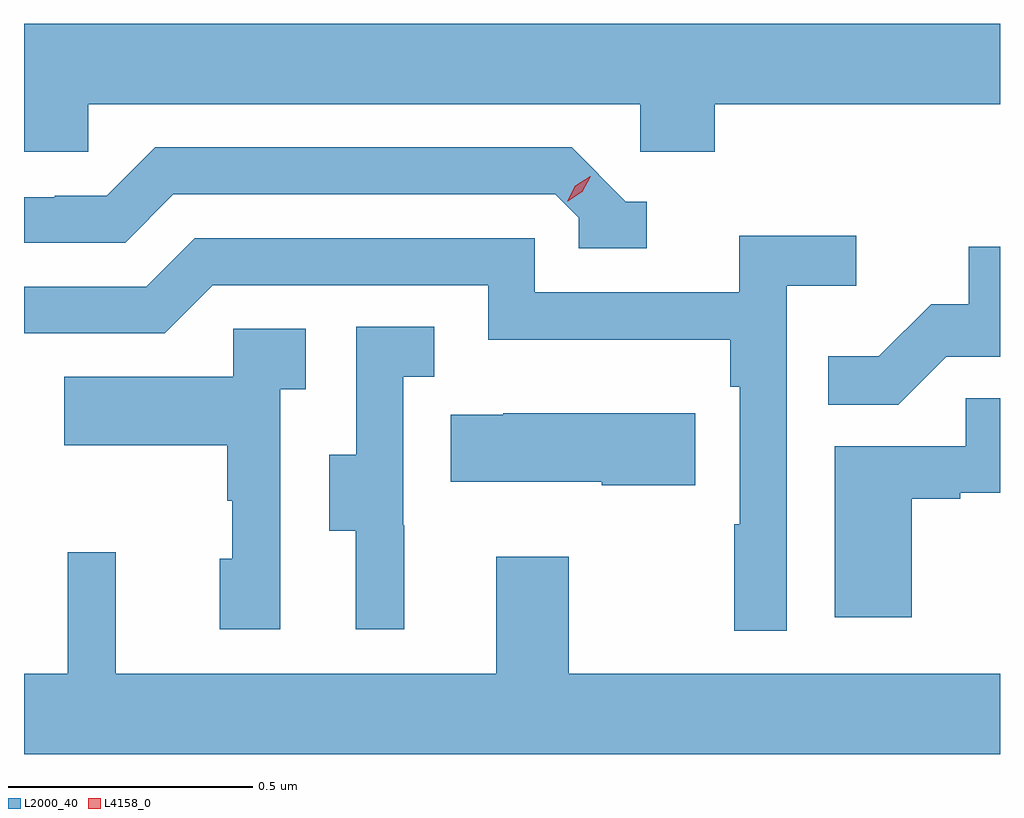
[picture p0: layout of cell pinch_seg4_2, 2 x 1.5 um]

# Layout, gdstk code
import gdstk
lib = gdstk.Library(unit=1e-6, precision=1e-09)
def P(c, l, *ps):  # polygons
    for p in ps: c.add(gdstk.Polygon(p, *l))
L2000_40 = (2000, 40)
L4158_0 = (4158, 0)

pinch_seg4_2 = lib.new_cell('pinch_seg4_2')
P(pinch_seg4_2, L2000_40, [(1100.877,812.804),(1102.008,812.804),(1102.008,812.706),(1102.16,812.706),(1102.16,812.804),(1102.745,812.804),(1102.745,812.968),(1100.745,812.968),(1100.745,812.706),(1100.877,812.706)],
  [(1102.021,812.604),(1101.978,812.604),(1101.867,812.715),(1101.014,812.715),(1100.915,812.616),(1100.808,812.616),(1100.808,812.613),(1100.745,812.613),(1100.745,812.52),(1100.952,812.52),(1101.051,812.619),(1101.834,812.619),(1101.882,812.571),(1101.882,812.508),(1102.021,812.508)],
  [(1102.308,812.432),(1102.45,812.432),(1102.45,812.534),(1102.211,812.534),(1102.211,812.418),(1101.792,812.418),(1101.792,812.529),(1101.095,812.529),(1100.996,812.43),(1100.745,812.43),(1100.745,812.334),(1101.033,812.334),(1101.132,812.433),(1101.696,812.433),(1101.696,812.321),(1102.192,812.321),(1102.192,812.225),(1102.212,812.225),(1102.212,811.943),(1102.2,811.943),(1102.2,811.725),(1102.308,811.725)],
  [(1102.635,812.286),(1102.745,812.286),(1102.745,812.511),(1102.681,812.511),(1102.681,812.394),(1102.604,812.394),(1102.497,812.287),(1102.393,812.287),(1102.393,812.188),(1102.537,812.188)],
  [(1101.524,811.941),(1101.522,811.941),(1101.522,812.245),(1101.586,812.245),(1101.586,812.348),(1101.426,812.348),(1101.426,812.085),(1101.371,812.085),(1101.371,811.93),(1101.425,811.93),(1101.425,811.728),(1101.524,811.728)],
  [(1101.27,812.219),(1101.322,812.219),(1101.322,812.343),(1101.174,812.343),(1101.174,812.245),(1100.827,812.245),(1100.827,812.105),(1101.162,812.105),(1101.162,811.991),(1101.172,811.991),(1101.172,811.872),(1101.146,811.872),(1101.146,811.728),(1101.27,811.728)],
  [(1102.564,811.995),(1102.664,811.995),(1102.664,812.007),(1102.745,812.007),(1102.745,812.201),(1102.675,812.201),(1102.675,812.103),(1102.406,812.103),(1102.406,811.752),(1102.564,811.752)],
  [(1102.12,812.17),(1101.727,812.17),(1101.727,812.167),(1101.619,812.167),(1101.619,812.03),(1101.929,812.03),(1101.929,812.023),(1102.12,812.023)],
  [(1102.745,811.636),(1101.861,811.636),(1101.861,811.876),(1101.713,811.876),(1101.713,811.636),(1100.933,811.636),(1100.933,811.885),(1100.835,811.885),(1100.835,811.636),(1100.745,811.636),(1100.745,811.472),(1102.745,811.472)])
P(pinch_seg4_2, L4158_0, [(1101.858,812.605),(1101.858,812.605),(1101.875,812.637),(1101.905,812.656),(1101.906,812.656),(1101.906,812.656),(1101.889,812.624),(1101.859,812.605)])

lib.write_gds('pinch_seg4_2.gds')
